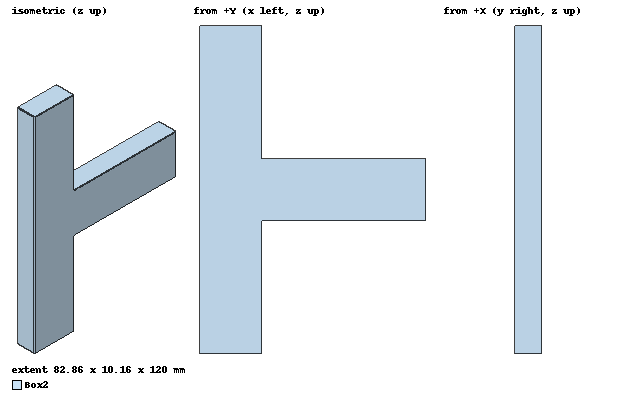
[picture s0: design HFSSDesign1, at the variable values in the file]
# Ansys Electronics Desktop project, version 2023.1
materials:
  vacuum: permittivity=1

design HFSSDesign1 (HFSS, HFSS Modal Network, model units mm)
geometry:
  Box1 = box(corner=(0mm, 0mm, 0mm), size=(22.86mm, 10.16mm, 120mm))
  Box2 [vacuum] = box(corner=(0mm, 0mm, (60-22.86/2) mm), size=(-60mm, 10.16mm, 22.86mm))
  Box2.unite(Box1)
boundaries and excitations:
  PerfE1: Perfect E Faces=Box2.face(at (22.86, 5.08, 60), +y, -y, at (0, 5.08, 24.285), -z, at (0, 5.08, 95.715), +z)
  1: Wave Port Faces=Box2.face(at (11.43, 5.08, 120)) WavePortType=Default NumModes=1 Modes{Mode1{IntLine{(11.43, 10.16, 120) -> (11.43, 0, 120)} CharImp=Zpi}}
  2: Wave Port Faces=Box2.face(-x) WavePortType=Default NumModes=1 Modes{Mode1{CharImp=Zpi}}
  3: Wave Port Faces=Box2.face(at (11.43, 5.08, 0)) WavePortType=Default NumModes=1 Modes{Mode1{IntLine{(11.43, 0, 0) -> (11.43, 10.16, 0)} CharImp=Zpi}}
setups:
  Setup1: HfssDriven Frequency=10GHz MaxDeltaS=0.02 MaximumPasses=6 MinimumPasses=1 MinimumConvergedPasses=1 PercentRefinement=30 BasisOrder=1 PortAccuracy=2 DrivenSolverType="Direct Solver"
    sweep Sweep: 5GHz to 15GHz, 401 points; Type=Interpolating InterpTolerance=0.5 InterpMaxSolns=250 InterpUsePortImped=false PassivityErrorTolerance=0.0001
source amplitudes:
  1:1: 1W 0deg
  2:1, 3:1: 0W 0deg
